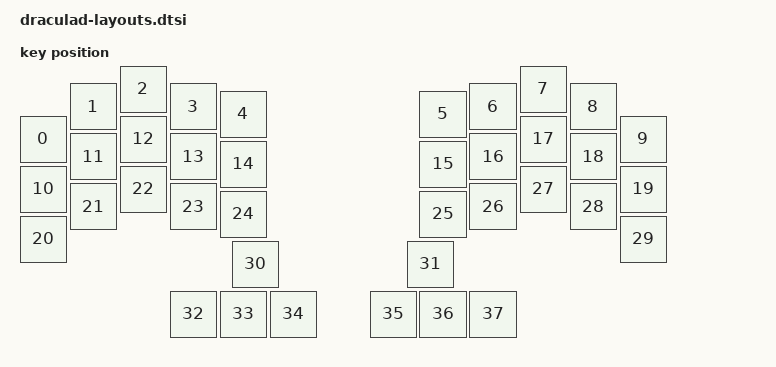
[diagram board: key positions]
#include <physical_layouts.dtsi>

/ {
    physical_layout0: physical_layout_0 {
        compatible = "zmk,physical-layout";
        display-name = "LAYOUT";

        kscan = <&kscan0>;
        transform = <&matrix_transform0>;

        keys  //                     w   h    x    y     rot    rx    ry
            = <&key_physical_attrs 100 100    0  100       0     0     0>
            , <&key_physical_attrs 100 100  100   35       0     0     0>
            , <&key_physical_attrs 100 100  200    0       0     0     0>
            , <&key_physical_attrs 100 100  300   35       0     0     0>
            , <&key_physical_attrs 100 100  400   50       0     0     0>
            , <&key_physical_attrs 100 100  800   50       0     0     0>
            , <&key_physical_attrs 100 100  900   35       0     0     0>
            , <&key_physical_attrs 100 100 1000    0       0     0     0>
            , <&key_physical_attrs 100 100 1100   35       0     0     0>
            , <&key_physical_attrs 100 100 1200  100       0     0     0>
            , <&key_physical_attrs 100 100    0  200       0     0     0>
            , <&key_physical_attrs 100 100  100  135       0     0     0>
            , <&key_physical_attrs 100 100  200  100       0     0     0>
            , <&key_physical_attrs 100 100  300  135       0     0     0>
            , <&key_physical_attrs 100 100  400  150       0     0     0>
            , <&key_physical_attrs 100 100  800  150       0     0     0>
            , <&key_physical_attrs 100 100  900  135       0     0     0>
            , <&key_physical_attrs 100 100 1000  100       0     0     0>
            , <&key_physical_attrs 100 100 1100  135       0     0     0>
            , <&key_physical_attrs 100 100 1200  200       0     0     0>
            , <&key_physical_attrs 100 100    0  300       0     0     0>
            , <&key_physical_attrs 100 100  100  235       0     0     0>
            , <&key_physical_attrs 100 100  200  200       0     0     0>
            , <&key_physical_attrs 100 100  300  235       0     0     0>
            , <&key_physical_attrs 100 100  400  250       0     0     0>
            , <&key_physical_attrs 100 100  800  250       0     0     0>
            , <&key_physical_attrs 100 100  900  235       0     0     0>
            , <&key_physical_attrs 100 100 1000  200       0     0     0>
            , <&key_physical_attrs 100 100 1100  235       0     0     0>
            , <&key_physical_attrs 100 100 1200  300       0     0     0>
            , <&key_physical_attrs 100 100  425  350       0     0     0>
            , <&key_physical_attrs 100 100  775  350       0     0     0>
            , <&key_physical_attrs 100 100  300  450       0     0     0>
            , <&key_physical_attrs 100 100  400  450       0     0     0>
            , <&key_physical_attrs 100 100  500  450       0     0     0>
            , <&key_physical_attrs 100 100  700  450       0     0     0>
            , <&key_physical_attrs 100 100  800  450       0     0     0>
            , <&key_physical_attrs 100 100  900  450       0     0     0>
            ;
    };
};
